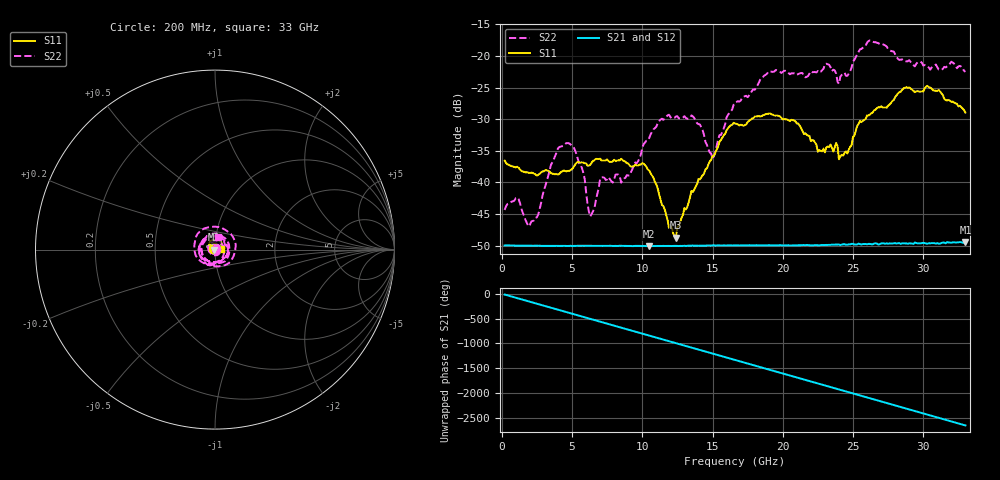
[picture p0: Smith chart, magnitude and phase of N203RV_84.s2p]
# GHZ S RI R 50
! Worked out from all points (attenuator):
!   329 points, 200 MHz to 33 GHz, reference 50 ohm
!   highest |S21| = -49.41 dB at 33 GHz (marker M1); lowest = -50.1 dB at 10.5 GHz (marker M2)
!   lowest |S11| = -48.8 dB at 12.4 GHz (marker M3), VSWR 1.01, Z = 49.6 - j0.0722 ohm
!   |S11| at or under -10 dB: start of sweep to end of sweep
!   |S22| runs from -47.0 to -17.6 dB; largest |S21 - S12| = 7.2e-05
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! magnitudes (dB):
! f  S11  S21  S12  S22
! 200 MHz  -36.6  -50.0  -50.0  -44.4
! 1.1 GHz  -37.5  -50.0  -50.0  -42.4
! 2.5 GHz  -38.9  -50.0  -50.0  -45.5
! 3.5 GHz  -38.6  -50.0  -50.0  -37.2
! 4.6 GHz  -38.3  -50.1  -50.0  -33.8
! 5.7 GHz  -36.8  -50.0  -50.0  -37.7
! 6.3 GHz  -37.2  -50.0  -50.0  -45.4
! 7 GHz  -36.3  -50.0  -50.0  -39.4
! 8.5 GHz  -36.3  -50.0  -50.0  -40.1
! 10.5 GHz  -38.2  -50.1  -50.1  -32.9
! 11.2 GHz  -41.9  -50.1  -50.0  -30.3
! 12.4 GHz  -48.8  -50.0  -50.0  -29.6
! 13.6 GHz  -41.5  -50.0  -50.0  -29.6
! 15 GHz  -35.8  -50.0  -50.0  -36.2
! 16.6 GHz  -30.7  -49.9  -49.9  -27.4
! 19 GHz  -29.1  -49.9  -49.9  -22.4
! 22.1 GHz  -33.3  -50.0  -49.9  -22.6
! 24 GHz  -36.3  -49.8  -49.9  -24.4
! 26.1 GHz  -29.4  -49.7  -49.7  -17.6
! 27.6 GHz  -27.7  -49.6  -49.7  -19.1
! 30.3 GHz  -24.7  -49.7  -49.7  -21.6
! 33 GHz  -29.0  -49.4  -49.4  -22.5
